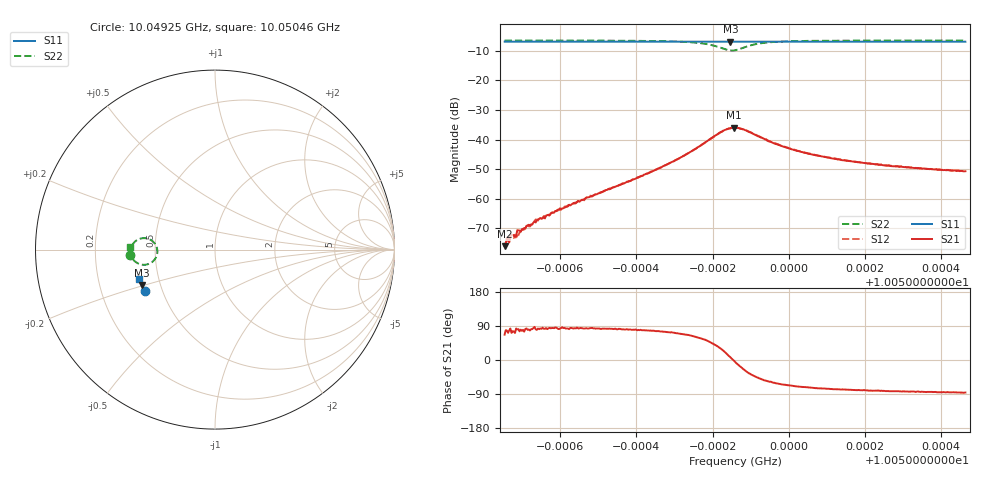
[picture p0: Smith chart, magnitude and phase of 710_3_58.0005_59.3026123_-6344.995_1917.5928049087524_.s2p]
#  HZ  S  RI  R  50.00
! Rohde & Schwarz Vector Network Analyzer
! Rohde-Schwarz,ZNB20-2Port,1311601062101988,3.16
! Created: UTC 3/21/2024, 1:22:09 AM
! freq[Hz]  re:S11  im:S11  re:S21  im:S21  re:S12  im:S12  re:S22  im:S22
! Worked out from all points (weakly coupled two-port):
!   401 points, 10.04925 GHz to 10.05046 GHz, reference 50 ohm
!   highest |S21| = -35.95 dB at 10.04986 GHz (marker M1); lowest = -76.0 dB at 10.04925 GHz (marker M2)
!   lowest |S11| = -6.9 dB at 10.04985 GHz (marker M3), VSWR 2.65, Z = 19.8 - j9.82 ohm
!   |S11| at or under -10 dB: nowhere
!   |S22| runs from -9.9 to -6.5 dB; largest |S21 - S12| = 0.0014
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1.0049254e10  -0.3897 -0.2333  6.21e-05 0.000145  2.47e-05 0.000175  -0.4738 -0.0319
1.0049257e10  -0.3897 -0.2331  3.4e-05 0.000168  4.18e-05 0.000173  -0.4737 -0.0316
1.0049266e10  -0.3902 -0.2328  3.74e-05 0.000178  3.75e-05 0.000224  -0.4738 -0.0308
1.0049275e10  -0.3906 -0.232  5.71e-05 0.000233  2.49e-05 0.000228  -0.4737 -0.0299
1.0049284e10  -0.3908 -0.2316  2.82e-05 0.000233  2.77e-05 0.000205  -0.4738 -0.0289
1.0049293e10  -0.3911 -0.231  7.19e-05 0.000282  2.51e-05 0.000267  -0.4737 -0.0282
1.0049344e10  -0.3927 -0.2279  6.92e-05 0.000454  3.21e-05 0.000478  -0.4736 -0.0232
1.0049456e10  -0.3963 -0.2216  9.9e-05 0.000943  5.4e-05 0.000958  -0.4726 -0.011
1.0049659e10  -0.4022 -0.2093  0.000787 0.00317  0.000623 0.00321  -0.4626 0.0226
1.0049717e10  -0.4037 -0.2057  0.00178 0.0047  0.0015 0.0048  -0.4508 0.0394
1.0049771e10  -0.4051 -0.2023  0.00451 0.00679  0.00407 0.00702  -0.4218 0.0593
1.0049814e10  -0.4056 -0.1996  0.0101 0.00725  0.00949 0.00782  -0.3673 0.0583
1.0049847e10  -0.4058 -0.198  0.0154 0.00193  0.0152 0.00298  -0.3224 0.00332
1.0049856e10  -0.406 -0.1978  0.0159 -0.000433  0.0159 0.000811  -0.3217 -0.0199
1.0049859e10  -0.4061 -0.1978  0.0157 -0.00135  0.0159 -1.37e-05  -0.3232 -0.0275
1.0049892e10  -0.4073 -0.1963  0.0116 -0.00749  0.0123 -0.00663  -0.3708 -0.0805
1.0049935e10  -0.4089 -0.1941  0.00621 -0.00834  0.00684 -0.00796  -0.4254 -0.0785
1.0049986e10  -0.4107 -0.1908  0.00323 -0.00689  0.00376 -0.00676  -0.4532 -0.0582
1.0050062e10  -0.4128 -0.1862  0.00162 -0.00537  0.00196 -0.00531  -0.4669 -0.0358
1.0050149e10  -0.4151 -0.1808  0.000933 -0.00433  0.00116 -0.0043  -0.472 -0.019
1.0050264e10  -0.418 -0.1737  0.000483 -0.00358  0.000719 -0.0036  -0.4745 -0.00345
1.0050464e10  -0.4225 -0.1615  0.000209 -0.00291  0.000345 -0.0029  -0.4749 0.0166
